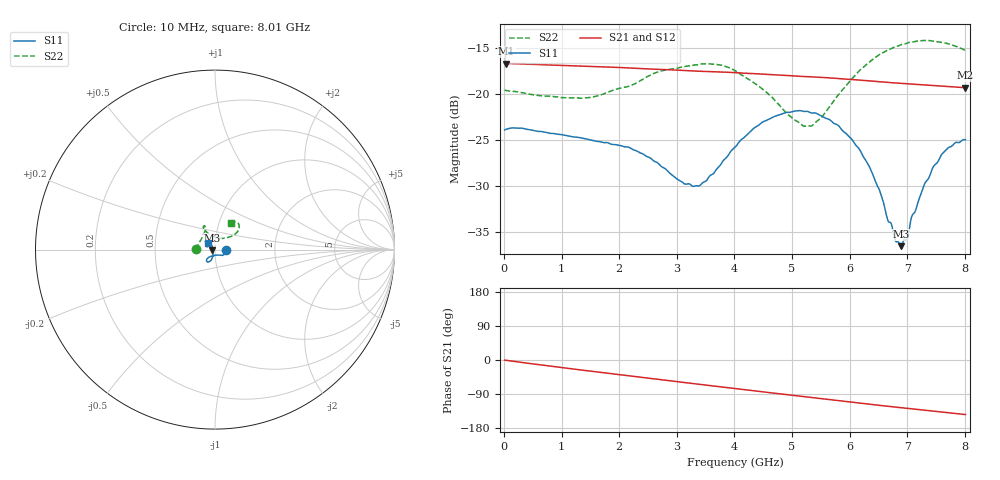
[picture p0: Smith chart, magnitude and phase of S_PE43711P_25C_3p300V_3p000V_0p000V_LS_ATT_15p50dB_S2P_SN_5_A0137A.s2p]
! Device ID: PE43711P
! File Path: z:\PE43711P\CHAR_NOM_04282014\AMB\3p300\LS_ATT_15p50dB\PE43711P_AMB_3p300V_3p000V_0p000V_LS_ATT_15p50dB_S2P_SN_5_A0137A.s2p
! Serial: 5
! Lot: A0137A
! Temp: 25C
! VDD: 3.300
! VSS: 0.000
! Control_Hi: 3.000
! Control_Lo: 0.000
! Attenuation Step: 15.50dB
! Port 1: RF1
! Port 2: RF2
! ThroughPath:1-2
! IDD: 0.0001283691
! ISS: -1.196e-007
#  Hz  S  RI  R  50
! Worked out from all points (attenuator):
!   801 points, 10 MHz to 8.01 GHz, reference 50 ohm
!   highest |S21| = -16.67 dB at 40 MHz (marker M1); lowest = -19.3 dB at 8.01 GHz (marker M2)
!   lowest |S11| = -36.5 dB at 6.89 GHz (marker M3), VSWR 1.03, Z = 48.6 - j0.359 ohm
!   |S11| at or under -10 dB: start of sweep to end of sweep
!   |S22| runs from -23.5 to -14.2 dB; largest |S21 - S12| = 0.00029
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1e7  0.0639 7.61e-05  0.1466 -0.000658  0.1468 -0.000695  -0.1052 0.000864
4e7  0.0645 -0.000472  0.1466 -0.0022  0.1467 -0.00222  -0.1045 0.0024
1.35e9  0.0506 -0.0278  0.1272 -0.0636  0.1273 -0.0636  -0.0799 0.0512
2.16e9  0.0397 -0.0328  0.1034 -0.0926  0.1035 -0.0926  -0.0595 0.0927
2.68e9  0.028 -0.0312  0.0854 -0.1063  0.0854 -0.1063  -0.0549 0.1207
3.12e9  0.0115 -0.0306  0.0687 -0.1156  0.0687 -0.1157  -0.0559 0.1293
3.37e9  0.000369 -0.0317  0.059 -0.1195  0.0591 -0.1195  -0.058 0.1326
4.01e9  -0.0313 -0.0408  0.0333 -0.1265  0.0332 -0.1266  -0.0642 0.1178
4.68e9  -0.0471 -0.0585  0.00591 -0.1273  0.00591 -0.1274  -0.0351 0.0873
5.17e9  -0.0429 -0.0687  -0.0129 -0.1242  -0.013 -0.1242  0.00394 0.0679
5.35e9  -0.0392 -0.0685  -0.0197 -0.1224  -0.0197 -0.1226  0.0232 0.0633
5.79e9  -0.0255 -0.0631  -0.0357 -0.1163  -0.0357 -0.1163  0.0709 0.0673
6.16e9  -0.0158 -0.0481  -0.0477 -0.1093  -0.0477 -0.1094  0.1054 0.0812
6.38e9  -0.0122 -0.0361  -0.0542 -0.1046  -0.0543 -0.1047  0.1205 0.0936
6.68e9  -0.0122 -0.0161  -0.0619 -0.0978  -0.0619 -0.0979  0.1321 0.1144
6.8e9  -0.013 -0.00905  -0.0648 -0.0949  -0.0648 -0.095  0.1342 0.1222
6.89e9  -0.0144 -0.0037  -0.0669 -0.0928  -0.0668 -0.0929  0.1352 0.1272
7e9  -0.0159 0.00298  -0.0694 -0.0902  -0.0693 -0.0902  0.1349 0.1331
7.09e9  -0.0202 0.00873  -0.0714 -0.0879  -0.0714 -0.088  0.133 0.1384
7.46e9  -0.03 0.0273  -0.0789 -0.0784  -0.0789 -0.0784  0.1193 0.1532
7.7e9  -0.0367 0.035  -0.0829 -0.072  -0.0829 -0.072  0.1057 0.1558
8.01e9  -0.0407 0.0392  -0.0876 -0.0637  -0.0878 -0.0635  0.0907 0.1469
